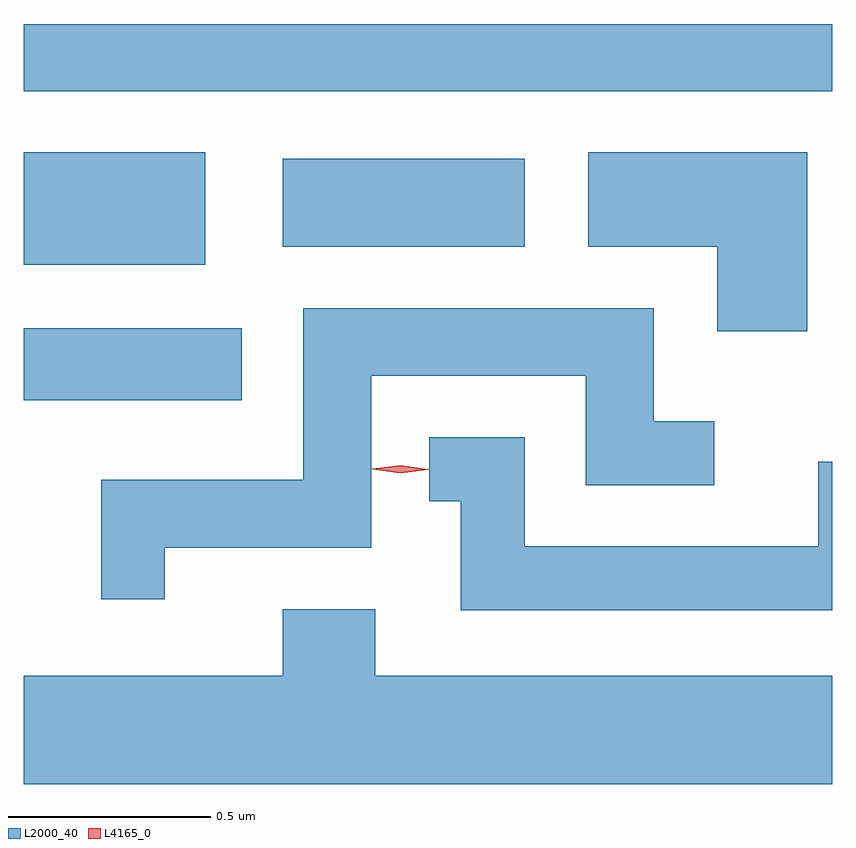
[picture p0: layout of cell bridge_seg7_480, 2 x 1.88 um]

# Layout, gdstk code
import gdstk
lib = gdstk.Library(unit=1e-6, precision=1e-09)
def R(c, l, rs):  # rectangles x0, y0, x1, y1
    for r in rs: c.add(gdstk.rectangle(r[:2], r[2:], *l))
def P(c, l, *ps):  # polygons
    for p in ps: c.add(gdstk.Polygon(p, *l))
L2000_40 = (2000, 40)
L4165_0 = (4165, 0)

bridge_seg7_480 = lib.new_cell('bridge_seg7_480')
R(bridge_seg7_480, L2000_40, [(1076.71,1701.946,1077.249,1702.124), (1076.71,1702.281,1077.159,1702.559), (1077.351,1702.326,1077.949,1702.544), (1076.71,1702.711,1078.71,1702.877)])
P(bridge_seg7_480, L2000_40, [(1078.649,1702.559),(1078.106,1702.559),(1078.106,1702.326),(1078.426,1702.326),(1078.426,1702.116),(1078.649,1702.116)],
  [(1077.059,1701.581),(1077.569,1701.581),(1077.569,1702.006),(1078.101,1702.006),(1078.101,1701.736),(1078.418,1701.736),(1078.418,1701.894),(1078.269,1701.894),(1078.269,1702.174),(1077.401,1702.174),(1077.401,1701.749),(1076.901,1701.749),(1076.901,1701.453),(1077.059,1701.453)],
  [(1078.71,1701.793),(1078.676,1701.793),(1078.676,1701.584),(1077.949,1701.584),(1077.949,1701.854),(1077.713,1701.854),(1077.713,1701.696),(1077.791,1701.696),(1077.791,1701.426),(1078.71,1701.426)],
  [(1078.71,1701.264),(1077.579,1701.264),(1077.579,1701.429),(1077.351,1701.429),(1077.351,1701.264),(1076.71,1701.264),(1076.71,1700.996),(1078.71,1700.996)])
P(bridge_seg7_480, L4165_0, [(1077.641,1701.765),(1077.572,1701.775),(1077.572,1701.775),(1077.572,1701.776),(1077.641,1701.785),(1077.711,1701.775),(1077.711,1701.775),(1077.711,1701.774)])

lib.write_gds('bridge_seg7_480.gds')
